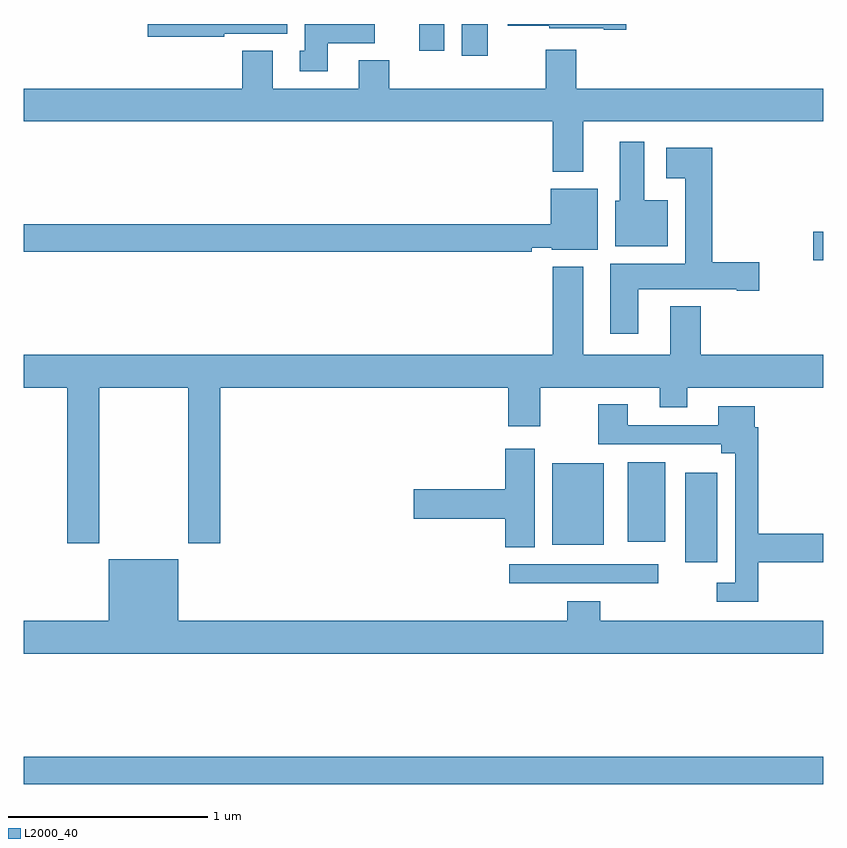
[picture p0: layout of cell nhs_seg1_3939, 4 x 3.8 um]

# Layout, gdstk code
import gdstk
lib = gdstk.Library(unit=1e-6, precision=1e-09)
def R(c, l, rs):  # rectangles x0, y0, x1, y1
    for r in rs: c.add(gdstk.rectangle(r[:2], r[2:], *l))
def P(c, l, *ps):  # polygons
    for p in ps: c.add(gdstk.Polygon(p, *l))
L2000_40 = (2000, 40)

nhs_seg1_3939 = lib.new_cell('nhs_seg1_3939')
R(nhs_seg1_3939, L2000_40, [(325,568.396,329,568.532), (327.429,569.4,328.174,569.496), (328.31,569.505,328.471,569.953), (327.644,569.594,327.901,570.001), (328.022,569.609,328.21,570.007), (328.95,571.018,329,571.16), (327.191,572.04,327.322,572.199), (326.978,572.064,327.103,572.199)])
P(nhs_seg1_3939, L2000_40, [(326.521,572.102),(326.757,572.102),(326.757,572.199),(326.405,572.199),(326.405,572.064),(326.381,572.064),(326.381,571.962),(326.521,571.962)],
  [(328.015,572.199),(327.422,572.199),(327.422,572.189),(327.63,572.189),(327.63,572.177),(327.902,572.177),(327.902,572.17),(328.015,572.17)],
  [(326.004,572.15),(326.317,572.15),(326.317,572.199),(325.62,572.199),(325.62,572.135),(326.004,572.135)],
  [(326.675,572.017),(326.675,571.876),(326.245,571.876),(326.245,572.065),(326.093,572.065),(326.093,571.876),(325,571.876),(325,571.712),(327.647,571.712),(327.647,571.46),(327.799,571.46),(327.799,571.712),(329,571.712),(329,571.876),(327.764,571.876),(327.764,572.071),(327.611,572.071),(327.611,571.876),(326.828,571.876),(326.828,572.017)],
  [(328.222,571.318),(328.105,571.318),(328.105,571.609),(327.983,571.609),(327.983,571.314),(327.959,571.314),(327.959,571.088),(328.222,571.088)],
  [(328.075,570.872),(328.568,570.872),(328.568,570.865),(328.681,570.865),(328.681,571.007),(328.445,571.007),(328.445,571.579),(328.215,571.579),(328.215,571.427),(328.31,571.427),(328.31,571),(327.935,571),(327.935,570.648),(328.075,570.648)],
  [(327.542,571.08),(327.642,571.08),(327.642,571.07),(327.871,571.07),(327.871,571.375),(327.638,571.375),(327.638,571.196),(325,571.196),(325,571.06),(327.542,571.06)],
  [(328.181,570.281),(328.321,570.281),(328.321,570.38),(329,570.38),(329,570.544),(328.388,570.544),(328.388,570.787),(328.235,570.787),(328.235,570.544),(327.799,570.544),(327.799,570.985),(327.647,570.985),(327.647,570.544),(325,570.544),(325,570.38),(325.217,570.38),(325.217,569.601),(325.377,569.601),(325.377,570.38),(325.822,570.38),(325.822,569.601),(325.982,569.601),(325.982,570.38),(327.425,570.38),(327.425,570.186),(327.585,570.186),(327.585,570.38),(328.181,570.38)],
  [(328.676,569.506),(329,569.506),(329,569.648),(328.676,569.648),(328.676,570.182),(328.657,570.182),(328.657,570.286),(328.475,570.286),(328.475,570.192),(328.021,570.192),(328.021,570.295),(327.874,570.295),(327.874,570.096),(328.49,570.096),(328.49,570.05),(328.56,570.05),(328.56,569.403),(328.467,569.403),(328.467,569.307),(328.676,569.307)],
  [(327.556,570.073),(327.41,570.073),(327.41,569.87),(326.952,569.87),(326.952,569.723),(327.41,569.723),(327.41,569.581),(327.556,569.581)],
  [(329,569.212),(327.884,569.212),(327.884,569.311),(327.719,569.311),(327.719,569.212),(325.774,569.212),(325.774,569.521),(325.424,569.521),(325.424,569.212),(325,569.212),(325,569.048),(329,569.048)])

lib.write_gds('nhs_seg1_3939.gds')
